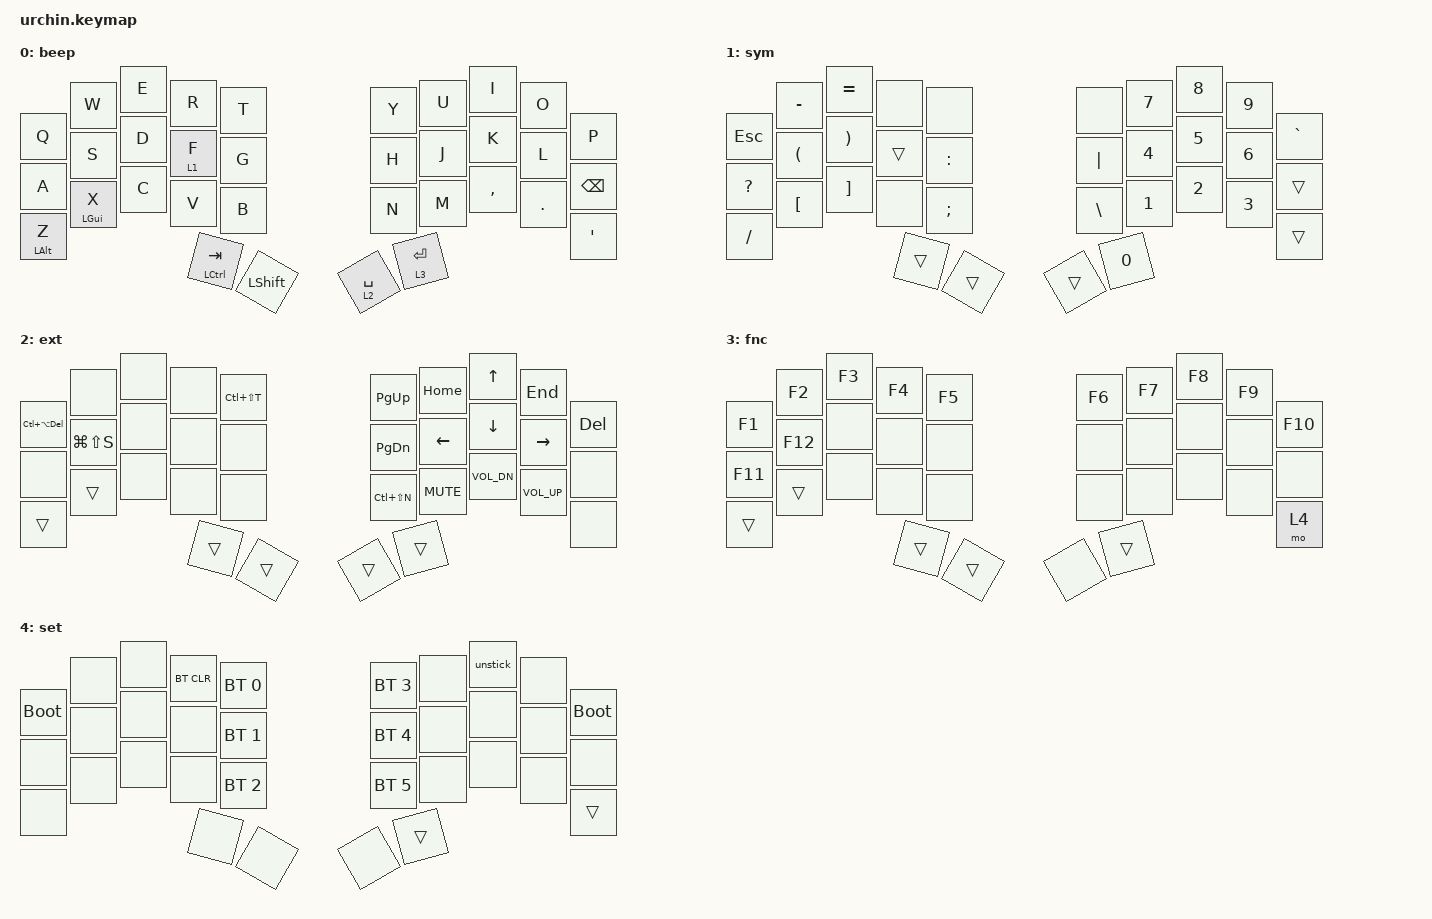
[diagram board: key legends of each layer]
/*
 * Copyright (c) 2020 duckyb
 *
 * SPDX-License-Identifier: MIT
 */

#include <behaviors.dtsi>
#include <dt-bindings/zmk/bt.h>
#include <dt-bindings/zmk/keys.h>
#include <dt-bindings/zmk/outputs.h>

// Layer definitions

#define BASE 0
#define SYM 1
#define EXT 2
#define FNC 3
#define SYM2 4
#define ACCENT 5
#define SETTINGS 6

// -----------------

&sk {
    // don't release mods on other mods presses

    ignore-modifiers;
};

/ {
    behaviors {
        // Enables holding the first mod-tap key
        // by performing a tap-release-hold sequence.
        // To use it: "&qt KEYCODE1 KEYCODE2"

        qt: quick_tap {
            compatible = "zmk,behavior-hold-tap";
            label = "QUICK_TAP";
            #binding-cells = <2>;
            flavor = "hold-preferred";
            tapping-term-ms = <200>;
            quick-tap-ms = <200>;
            bindings = <&kp>, <&kp>;
        };
    };

    macros {
        // sometimes my device thinks a modifier is being held down
        // pressing all modifiers fixes it.

        unstick: unstick {
            label = "ZM_unstick";
            compatible = "zmk,behavior-macro";
            #binding-cells = <0>;
            bindings = <&kp LSHIFT &kp RSHIFT &kp LCTRL &kp RCTRL &kp LALT &kp RALT &kp LGUI &kp RGUI>;
        };
    };

    combos {
        compatible = "zmk,combos";

        // both right thumb keys
        // internal-left & external-right thumb keys
        // both left thumb keys
        // left index & middle fingers (home-row)
        // hold control & space for Adobe workflow
    };

    keymap {
        compatible = "zmk,keymap";

        // Base alpha layer

        default_layer {
            label = "beep";
            bindings = <
&kp Q             &kp W             &kp E    &kp R            &kp T             &kp Y          &kp U          &kp I        &kp O      &kp P
&kp A             &kp S             &kp D    &lt 1 F          &kp G             &kp H          &kp J          &kp K        &kp L      &kp BACKSPACE
&mt LEFT_ALT Z    &mt LEFT_GUI X    &kp C    &kp V            &kp B             &kp N          &kp M          &kp COMMA    &kp DOT    &kp SQT
                                             &mt LCTRL TAB    &kp LEFT_SHIFT    &lt 2 SPACE    &lt 3 ENTER
            >;
        };

        // Numbers and high frequency symbols

        sym_layer {
            label = "sym";
            bindings = <
&kp ESCAPE      &kp MINUS               &kp EQUAL                &none     &none            &none            &kp N7          &kp N8          &kp N9          &kp GRAVE
&kp QUESTION    &kp LEFT_PARENTHESIS    &kp RIGHT_PARENTHESIS    &trans    &kp COLON        &kp PIPE         &kp NUMBER_4    &kp N5          &kp NUMBER_6    &trans
&kp SLASH       &kp LEFT_BRACKET        &kp RIGHT_BRACKET        &none     &kp SEMICOLON    &kp BACKSLASH    &kp NUMBER_1    &kp NUMBER_2    &kp NUMBER_3    &trans
                                                                 &trans    &trans           &trans           &kp N0
            >;
        };

        // Main modifiers and arrow keys

        ext_layer {
            label = "ext";
            bindings = <
&kp LC(LA(DEL))    &none            &none    &none     &kp LC(LS(T))    &kp PAGE_UP      &kp HOME      &kp UP          &kp END            &kp DEL
&none              &kp LG(LS(S))    &none    &none     &none            &kp PAGE_DOWN    &kp LEFT      &kp DOWN        &kp RIGHT          &none
&trans             &trans           &none    &none     &none            &kp LC(LS(N))    &kp C_MUTE    &kp C_VOL_DN    &kp C_VOLUME_UP    &none
                                             &trans    &trans           &trans           &trans
            >;
        };

        // Function keys with modifiers

        fnc_layer {
            label = "fnc";
            bindings = <
&kp F1     &kp F2     &kp F3    &kp F4    &kp F5    &kp F6    &kp F7    &kp F8    &kp F9    &kp F10
&kp F11    &kp F12    &none     &none     &none     &none     &none     &none     &none     &none
&trans     &trans     &none     &none     &none     &none     &none     &none     &none     &mo 4
                                &trans    &trans    &none     &trans
            >;
        };

        // Low frequency symbols.
        // Used to type regional accents.
        // Used to change the keyboard's settings.

        settings_layer {
            label = "set";
            bindings = <
&bootloader    &none    &none    &bt BT_CLR    &bt BT_SEL 0    &bt BT_SEL 3    &none     &unstick    &none    &bootloader
&none          &none    &none    &none         &bt BT_SEL 1    &bt BT_SEL 4    &none     &none       &none    &none
&none          &none    &none    &none         &bt BT_SEL 2    &bt BT_SEL 5    &none     &none       &none    &trans
                                 &none         &none           &none           &trans
            >;
        };
    };
};
